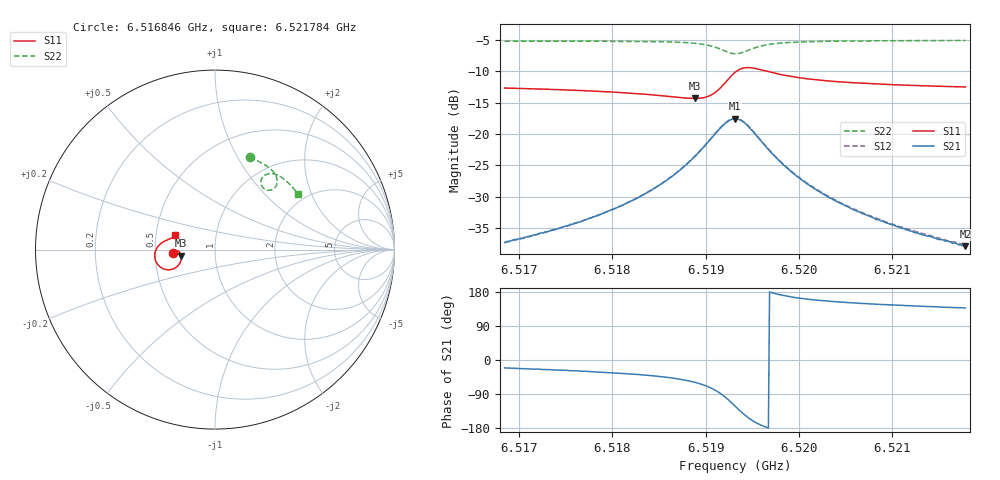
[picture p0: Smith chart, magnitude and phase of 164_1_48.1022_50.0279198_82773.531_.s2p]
#  HZ  S  RI  R  50.00
! Rohde & Schwarz Vector Network Analyzer
! Rohde-Schwarz,ZNB20-2Port,1311601062101988,3.16
! Created: UTC 12/23/2023, 3:51:05 AM
! freq[Hz]  re:S11  im:S11  re:S21  im:S21  re:S12  im:S12  re:S22  im:S22
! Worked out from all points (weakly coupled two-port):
!   401 points, 6.516846 GHz to 6.521784 GHz, reference 50 ohm
!   highest |S21| = -17.57 dB at 6.519315 GHz (marker M1); lowest = -37.9 dB at 6.521784 GHz (marker M2)
!   lowest |S11| = -14.3 dB at 6.518883 GHz (marker M3), VSWR 1.48, Z = 34 - j2.45 ohm
!   |S11| at or under -10 dB: start of sweep to 6.519332 GHz; 6.519654 GHz to end of sweep
!   |S22| runs from -7.2 to -5.1 dB; largest |S21 - S12| = 0.0041
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6.5168461e9  -0.2313 -0.0201  0.0128 -0.00483  0.0128 -0.00442  0.1923 0.5132
6.5172906e9  -0.2268 -0.0135  0.015 -0.00701  0.0151 -0.00655  0.2253 0.5
6.5176733e9  -0.2214 -0.00867  0.0175 -0.00992  0.0179 -0.00924  0.2536 0.4863
6.5181177e9  -0.213 -0.006  0.022 -0.0158  0.0227 -0.0151  0.2871 0.4662
6.5185004e9  -0.2025 -0.00984  0.0282 -0.0267  0.0292 -0.0259  0.3166 0.4424
6.5186979e9  -0.1952 -0.0177  0.0321 -0.0377  0.0335 -0.0369  0.3317 0.4248
6.5188831e9  -0.1888 -0.0347  0.0342 -0.0563  0.0362 -0.0555  0.3439 0.4004
6.5189942e9  -0.1884 -0.0533  0.0311 -0.0746  0.0336 -0.074  0.3469 0.3799
6.5190806e9  -0.195 -0.0738  0.0222 -0.0934  0.025 -0.0933  0.3428 0.3601
6.5192164e9  -0.2354 -0.1085  -0.0194 -0.121  -0.016 -0.1223  0.3122 0.332
6.5193152e9  -0.2907 -0.1055  -0.069 -0.1128  -0.0661 -0.1156  0.2744 0.3384
6.5193646e9  -0.3149 -0.0879  -0.0887 -0.0947  -0.0864 -0.0981  0.2609 0.3535
6.5194263e9  -0.3323 -0.0578  -0.1006 -0.0668  -0.0995 -0.0704  0.2556 0.3764
6.5195374e9  -0.3318 -0.00926  -0.0952 -0.0254  -0.0951 -0.0285  0.2694 0.4078
6.5196485e9  -0.3164 0.0193  -0.0787 -0.0037  -0.0793 -0.00588  0.292 0.421
6.5199078e9  -0.2844 0.0452  -0.0494 0.0116  -0.0503 0.0102  0.3335 0.4203
6.5201423e9  -0.2671 0.0534  -0.0352 0.0133  -0.0359 0.0124  0.3592 0.4093
6.5203028e9  -0.2589 0.0569  -0.029 0.0129  -0.0297 0.0124  0.3733 0.4005
6.5205497e9  -0.2495 0.0611  -0.0225 0.0123  -0.0231 0.0119  0.3919 0.3866
6.5209695e9  -0.2382 0.0674  -0.0158 0.0109  -0.0164 0.0105  0.4183 0.3618
6.5213151e9  -0.2313 0.0722  -0.0124 0.00971  -0.0129 0.00969  0.4374 0.341
6.5217843e9  -0.2234 0.0787  -0.00937 0.00863  -0.00984 0.00855  0.4603 0.312
